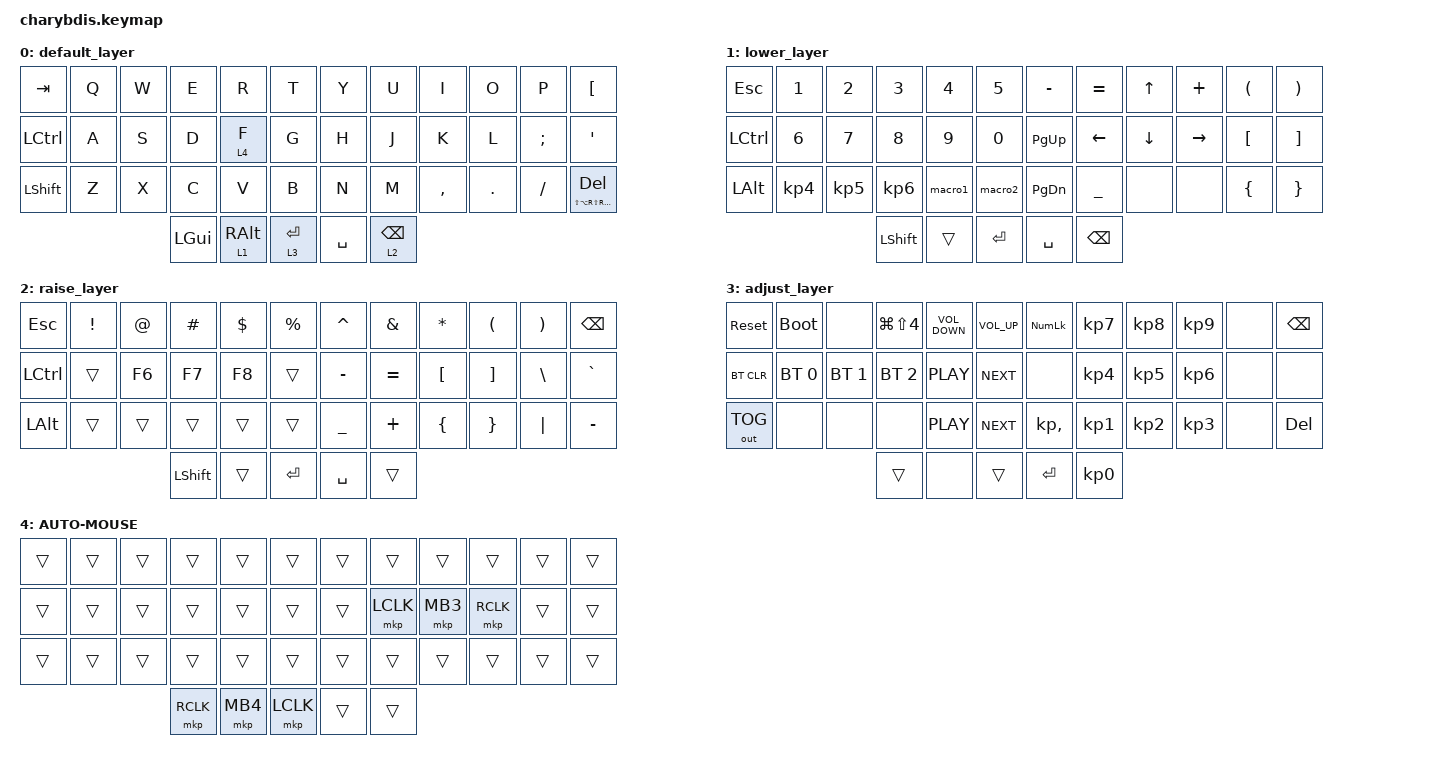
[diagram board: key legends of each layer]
/*
 * Copyright (c) 2020 The ZMK Contributors
 *
 * SPDX-License-Identifier: MIT
 */

#include <behaviors.dtsi>
#include <dt-bindings/zmk/bt.h>
#include <dt-bindings/zmk/keys.h>
#include <dt-bindings/zmk/outputs.h>
#include <dt-bindings/zmk/pointing.h>

#define DEF 0
#define LWR 1
#define RSE 2
#define ADJ 3

&lt { quick_tap_ms = <200>; };

&mt { quick_tap_ms = <200>; };

/ {
    macros {
        macro1: macro1 {
            compatible = "zmk,behavior-macro";
            #binding-cells = <0>;
            bindings = <&kp LA(LS(NUMBER_4))>;
            label = "MACRO1";
        };

        macro2: macro2 {
            compatible = "zmk,behavior-macro";
            #binding-cells = <0>;
            bindings = <&kp LC(LEFT_ARROW)>;
            label = "MACRO2";
        };

        macro3: macro3 {
            compatible = "zmk,behavior-macro";
            #binding-cells = <0>;
            bindings = <&kp LC(RIGHT)>;
            label = "MACRO3";
        };

        macro4: macro4 {
            compatible = "zmk,behavior-macro";
            #binding-cells = <0>;
            bindings = <&kp LG(LS(NUMBER_4))>;
            label = "MACRO4";
        };
    };

    keymap {
        compatible = "zmk,keymap";

        default_layer {
            bindings = <
&kp TAB     &kp Q  &kp W  &kp E     &kp R            &kp T        &kp Y      &kp U            &kp I      &kp O    &kp P     &kp LBKT
&kp LCTRL   &kp A  &kp S  &kp D     &lt 4 F          &kp G        &kp H      &kp J            &kp K      &kp L    &kp SEMI  &kp SQT
&kp LSHIFT  &kp Z  &kp X  &kp C     &kp V            &kp B        &kp N      &kp M            &kp COMMA  &kp DOT  &kp FSLH  &mt LS(LA(RS(RA(RIGHT_ALT)))) DELETE
                          &kp LGUI  &lt 1 RIGHT_ALT  &lt 3 RET    &kp SPACE  &lt 2 BACKSPACE
            >;
        };

        lower_layer {
            bindings = <
&kp ESC    &kp N1           &kp N2           &kp N3           &kp N4   &kp N5       &kp MINUS      &kp EQUAL       &kp UP_ARROW    &kp PLUS         &kp LEFT_PARENTHESIS  &kp RIGHT_PARENTHESIS
&kp LCTRL  &kp N6           &kp N7           &kp N8           &kp N9   &kp N0       &kp PAGE_UP    &kp LEFT_ARROW  &kp DOWN_ARROW  &kp RIGHT_ARROW  &kp LEFT_BRACKET      &kp RIGHT_BRACKET
&kp LALT   &kp KP_NUMBER_4  &kp KP_NUMBER_5  &kp KP_NUMBER_6  &macro1  &macro2      &kp PAGE_DOWN  &kp UNDER       &none           &none            &kp LEFT_BRACE        &kp RIGHT_BRACE
                                             &kp LSHFT        &trans   &kp ENTER    &kp SPACE      &kp BACKSPACE
            >;
        };

        raise_layer {
            bindings = <
&kp ESC    &kp EXCLAMATION  &kp AT_SIGN  &kp HASH   &kp DOLLAR  &kp PERCENT    &kp CARET       &kp AMPERSAND  &kp ASTERISK      &kp LEFT_PARENTHESIS  &kp RIGHT_PARENTHESIS  &kp BACKSPACE
&kp LCTRL  &trans           &kp F6       &kp F7     &kp F8      &trans         &kp MINUS       &kp EQUAL      &kp LEFT_BRACKET  &kp RIGHT_BRACKET     &kp BACKSLASH          &kp GRAVE
&kp LALT   &trans           &trans       &trans     &trans      &trans         &kp UNDERSCORE  &kp PLUS       &kp LEFT_BRACE    &kp RIGHT_BRACE       &kp PIPE               &kp MINUS
                                         &kp LSHFT  &trans      &kp ENTER      &kp SPACE       &trans
            >;
        };

        adjust_layer {
            bindings = <
&sys_reset    &bootloader   &none         &kp LG(LS(NUMBER_4))  &kp C_VOLUME_DOWN  &kp C_VOLUME_UP    &kp KP_NUMLOCK  &kp KP_NUMBER_7  &kp KP_NUMBER_8  &kp KP_NUMBER_9  &none  &kp BACKSPACE
&bt BT_CLR    &bt BT_SEL 0  &bt BT_SEL 1  &bt BT_SEL 2          &kp C_PLAY         &kp C_NEXT         &none           &kp KP_NUMBER_4  &kp KP_NUMBER_5  &kp KP_NUMBER_6  &none  &none
&out OUT_TOG  &none         &none         &none                 &kp C_PLAY         &kp C_NEXT         &kp KP_COMMA    &kp KP_NUMBER_1  &kp KP_NUMBER_2  &kp KP_NUMBER_3  &none  &kp DELETE
                                          &trans                &none              &trans             &kp ENTER       &kp KP_NUMBER_0
            >;
        };

        AUTO-MOUSE {
            bindings = <
&trans  &trans  &trans  &trans     &trans    &trans       &trans  &trans     &trans    &trans     &trans  &trans
&trans  &trans  &trans  &trans     &trans    &trans       &trans  &mkp LCLK  &mkp MB3  &mkp RCLK  &trans  &trans
&trans  &trans  &trans  &trans     &trans    &trans       &trans  &trans     &trans    &trans     &trans  &trans
                        &mkp RCLK  &mkp MB4  &mkp LCLK    &trans  &trans
            >;
        };
    };
};
